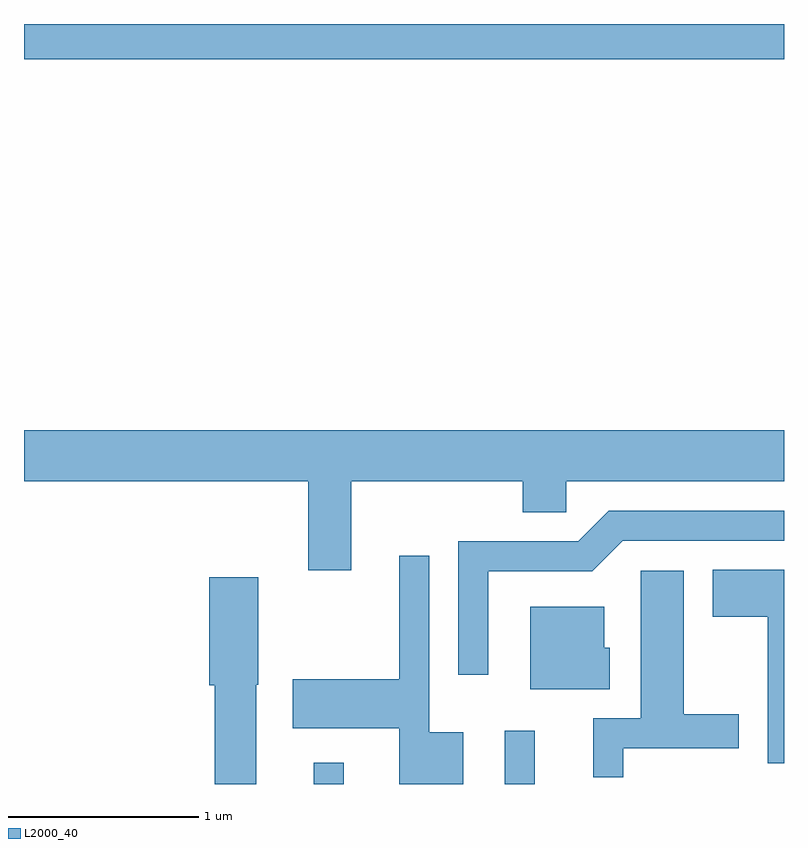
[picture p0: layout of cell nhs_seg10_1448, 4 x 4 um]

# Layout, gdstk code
import gdstk
lib = gdstk.Library(unit=1e-6, precision=1e-09)
def R(c, l, rs):  # rectangles x0, y0, x1, y1
    for r in rs: c.add(gdstk.rectangle(r[:2], r[2:], *l))
def P(c, l, *ps):  # polygons
    for p in ps: c.add(gdstk.Polygon(p, *l))
L2000_40 = (2000, 40)

nhs_seg10_1448 = lib.new_cell('nhs_seg10_1448')
R(nhs_seg10_1448, L2000_40, [(229.136,2134.522,229.294,2134.633), (230.141,2134.522,230.299,2134.803), (227.611,2138.336,231.611,2138.522)])
P(nhs_seg10_1448, L2000_40, [(229.334,2136.116),(230.236,2136.116),(230.236,2135.951),(230.464,2135.951),(230.464,2136.116),(231.611,2136.116),(231.611,2136.384),(227.611,2136.384),(227.611,2136.116),(229.106,2136.116),(229.106,2135.646),(229.334,2135.646)],
  [(230.054,2135.641),(230.602,2135.641),(230.762,2135.801),(231.611,2135.801),(231.611,2135.959),(230.689,2135.959),(230.529,2135.799),(229.896,2135.799),(229.896,2135.098),(230.054,2135.098)],
  [(229.924,2134.794),(229.744,2134.794),(229.744,2135.723),(229.586,2135.723),(229.586,2135.074),(229.026,2135.074),(229.026,2134.816),(229.586,2134.816),(229.586,2134.522),(229.924,2134.522)],
  [(231.611,2135.649),(231.236,2135.649),(231.236,2135.401),(231.526,2135.401),(231.526,2134.631),(231.611,2134.631)],
  [(230.764,2134.711),(231.374,2134.711),(231.374,2134.889),(231.084,2134.889),(231.084,2135.644),(230.856,2135.644),(230.856,2134.869),(230.606,2134.869),(230.606,2134.558),(230.764,2134.558)],
  [(228.834,2135.045),(228.844,2135.045),(228.844,2135.609),(228.586,2135.609),(228.586,2135.041),(228.616,2135.041),(228.616,2134.522),(228.834,2134.522)],
  [(230.694,2135.239),(230.664,2135.239),(230.664,2135.454),(230.276,2135.454),(230.276,2135.021),(230.694,2135.021)])

lib.write_gds('nhs_seg10_1448.gds')
